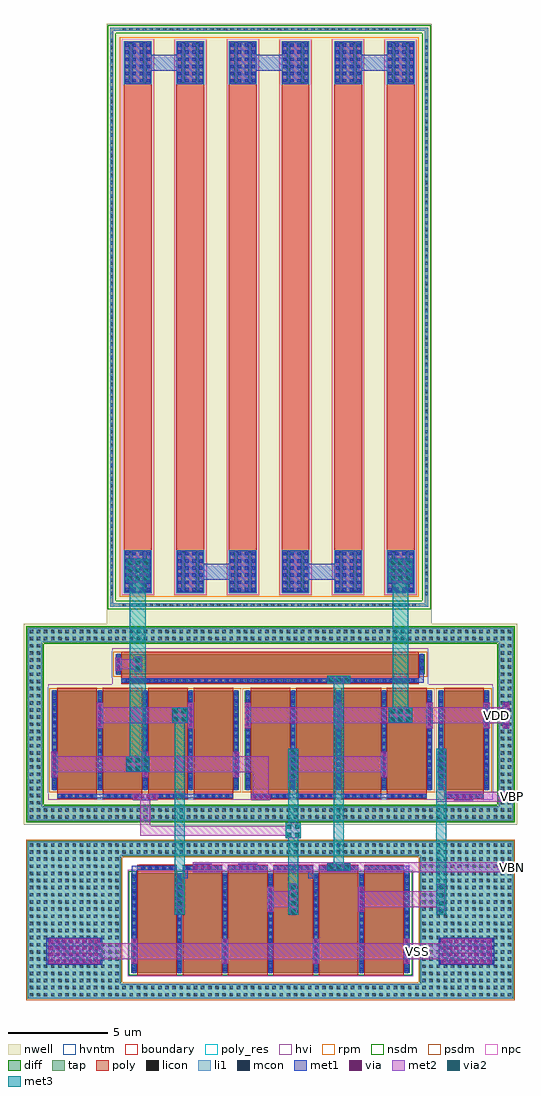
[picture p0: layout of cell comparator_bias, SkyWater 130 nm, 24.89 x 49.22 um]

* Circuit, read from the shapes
.subckt comparator_bias VBN VBP VDD VSS
XM1 VBN VSS VSS VSS sky130_fd_pr__nfet_g5v0d10v5 w=5 l=2
XM2 VSS VBN VBN VSS sky130_fd_pr__nfet_g5v0d10v5 w=5 l=2
XM3 n1 VBN VSS VSS sky130_fd_pr__nfet_g5v0d10v5 w=5 l=2
XM4 VSS VSS n1 VSS sky130_fd_pr__nfet_g5v0d10v5 w=5 l=2
XM5 VBP VBN VSS VSS sky130_fd_pr__nfet_g5v0d10v5 w=5 l=2
XM6 VSS VSS VBP VSS sky130_fd_pr__nfet_g5v0d10v5 w=5 l=2
XM7 VBN n1 n2 VDD sky130_fd_pr__pfet_g5v0d10v5 w=5 l=2 m=4
XM8 VBN VBN n2 VDD sky130_fd_pr__pfet_g5v0d10v5 w=1 l=15
XM9 n1 n2 VDD VDD sky130_fd_pr__pfet_g5v0d10v5 w=5 l=2 m=4
XM10 VDD VBP VBP VDD sky130_fd_pr__pfet_g5v0d10v5 w=5 l=2
XR11 n3 n2 VSS sky130_fd_pr__res_high_po w=1.41 l=23.5
XR12 n3 n4 VSS sky130_fd_pr__res_high_po w=1.41 l=23.5
XR13 n5 n4 VSS sky130_fd_pr__res_high_po w=1.41 l=23.5
XR14 n5 n6 VSS sky130_fd_pr__res_high_po w=1.41 l=23.5
XR15 n7 n6 VSS sky130_fd_pr__res_high_po w=1.41 l=23.5
XR16 n7 VDD VSS sky130_fd_pr__res_high_po w=1.41 l=23.5
.ends

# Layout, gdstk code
import gdstk
lib = gdstk.Library(unit=1e-6, precision=1e-09)
def R(c, l, rs):  # rectangles x0, y0, x1, y1
    for r in rs: c.add(gdstk.rectangle(r[:2], r[2:], *l))
def A(c, l, x, y, w, h, nx, ny, dx, dy):  # array of equal rectangles
    R(c, l, [(x+i*dx, y+j*dy, x+i*dx+w, y+j*dy+h) for i in range(nx) for j in range(ny)])
nwell = (64, 20)
diff = (65, 20)
tap = (65, 44)
poly_res = (66, 13)
poly = (66, 20)
licon = (66, 44)
li1 = (67, 20)
mcon = (67, 44)
met1 = (68, 20)
via = (68, 44)
met2 = (69, 20)
via2 = (69, 44)
met3 = (70, 20)
hvi = (75, 20)
rpm = (86, 20)
nsdm = (93, 44)
psdm = (94, 20)
npc = (95, 20)
hvntm = (125, 20)
boundary = (235, 4)

sky130_fd_pr__nfet_g5v0d = lib.new_cell('sky130_fd_pr__nfet_g5v0d10v5_CD2923')
R(sky130_fd_pr__nfet_g5v0d, diff, [(-1.29,-2.655,1.29,2.345)])
R(sky130_fd_pr__nfet_g5v0d, poly, [(-1,-2.785,1,2.785)])
A(sky130_fd_pr__nfet_g5v0d, licon, -1.23, -2.45, 0.17, 0.17, 1, 14, 0, 0.34)
A(sky130_fd_pr__nfet_g5v0d, licon, 1.06, -2.45, 0.17, 0.17, 1, 14, 0, 0.34)
A(sky130_fd_pr__nfet_g5v0d, licon, -0.765, 2.535, 0.17, 0.17, 5, 1, 0.34, 0)
R(sky130_fd_pr__nfet_g5v0d, li1, [(-1.23,-2.675,-1.06,2.365), (1.06,-2.675,1.23,2.365), (-1,2.535,1,2.705)])
A(sky130_fd_pr__nfet_g5v0d, mcon, -1.23, -2.58, 0.17, 0.17, 1, 14, 0, 0.36)
A(sky130_fd_pr__nfet_g5v0d, mcon, 1.06, -2.58, 0.17, 0.17, 1, 14, 0, 0.36)
A(sky130_fd_pr__nfet_g5v0d, mcon, -0.805, 2.535, 0.17, 0.17, 5, 1, 0.36, 0)
R(sky130_fd_pr__nfet_g5v0d, met1, [(-1.26,-2.655,-1.03,2.345), (1.03,-2.655,1.26,2.345), (-0.98,2.505,0.98,2.735)])
R(sky130_fd_pr__nfet_g5v0d, hvi, [(-1.475,-2.84,1.475,2.53)])
R(sky130_fd_pr__nfet_g5v0d, nsdm, [(-1.415,-2.78,1.415,2.47)])
R(sky130_fd_pr__nfet_g5v0d, npc, [(-0.865,2.435,0.865,2.805)])
R(sky130_fd_pr__nfet_g5v0d, hvntm, [(-1.475,-2.84,1.475,2.53)])

c__unnamed_ = lib.new_cell('(UNNAMED)')
c__unnamed_.add(gdstk.Reference(sky130_fd_pr__nfet_g5v0d, (1.29,2.785)))

sky130_fd_pr__pfet_g5v0d = lib.new_cell('sky130_fd_pr__pfet_g5v0d10v5_HHRSZV')
R(sky130_fd_pr__pfet_g5v0d, nwell, [(-1.47,-2.82,1.47,2.99)])
R(sky130_fd_pr__pfet_g5v0d, diff, [(-1.29,-2.32,1.29,2.68)])
R(sky130_fd_pr__pfet_g5v0d, poly, [(-1,-2.805,1,2.81)])
A(sky130_fd_pr__pfet_g5v0d, licon, -0.765, -2.725, 0.17, 0.17, 5, 1, 0.34, 0)
A(sky130_fd_pr__pfet_g5v0d, licon, -1.23, -2.115, 0.17, 0.17, 1, 14, 0, 0.34)
A(sky130_fd_pr__pfet_g5v0d, licon, 1.06, -2.115, 0.17, 0.17, 1, 14, 0, 0.34)
R(sky130_fd_pr__pfet_g5v0d, li1, [(-1,-2.725,1,-2.555), (-1.23,-2.34,-1.06,2.7), (1.06,-2.34,1.23,2.7)])
A(sky130_fd_pr__pfet_g5v0d, mcon, -0.805, -2.725, 0.17, 0.17, 5, 1, 0.36, 0)
A(sky130_fd_pr__pfet_g5v0d, mcon, -1.23, -2.245, 0.17, 0.17, 1, 14, 0, 0.36)
A(sky130_fd_pr__pfet_g5v0d, mcon, 1.06, -2.245, 0.17, 0.17, 1, 14, 0, 0.36)
R(sky130_fd_pr__pfet_g5v0d, met1, [(-0.98,-2.755,0.98,-2.525), (-1.26,-2.32,-1.03,2.68), (1.03,-2.32,1.26,2.68)])
R(sky130_fd_pr__pfet_g5v0d, hvi, [(-1.47,-2.82,1.47,-2.505), (-1.475,-2.505,1.475,2.865), (-1.47,2.865,1.47,2.99)])
R(sky130_fd_pr__pfet_g5v0d, psdm, [(-1.415,-2.445,1.415,2.805)])
R(sky130_fd_pr__pfet_g5v0d, npc, [(-0.865,-2.825,0.865,-2.455)])

c__unnamed__1 = lib.new_cell('(UNNAMED)$1')
c__unnamed__1.add(gdstk.Reference(sky130_fd_pr__pfet_g5v0d, (3.76,3)))

c_sky130_fd_pr__pfet_g5v0d = lib.new_cell('sky130_fd_pr__pfet_g5v0d10v5_HHVYFP')
R(c_sky130_fd_pr__pfet_g5v0d, nwell, [(-2.615,-2.82,2.615,2.99)])
R(c_sky130_fd_pr__pfet_g5v0d, diff, [(-2.435,-2.32,2.435,2.68)])
R(c_sky130_fd_pr__pfet_g5v0d, poly, [(-2.145,-2.805,-0.145,2.81), (0.145,-2.805,2.145,2.81)])
A(c_sky130_fd_pr__pfet_g5v0d, licon, -1.91, -2.725, 0.17, 0.17, 5, 1, 0.34, 0)
A(c_sky130_fd_pr__pfet_g5v0d, licon, 0.38, -2.725, 0.17, 0.17, 5, 1, 0.34, 0)
A(c_sky130_fd_pr__pfet_g5v0d, licon, -2.375, -2.115, 0.17, 0.17, 3, 14, 2.29, 0.34)
A(c_sky130_fd_pr__pfet_g5v0d, li1, -2.375, -2.34, 0.17, 5.04, 3, 1, 2.29, 0)
R(c_sky130_fd_pr__pfet_g5v0d, li1, [(-2.145,-2.725,-0.145,-2.555), (0.145,-2.725,2.145,-2.555)])
A(c_sky130_fd_pr__pfet_g5v0d, mcon, -1.95, -2.725, 0.17, 0.17, 5, 1, 0.36, 0)
A(c_sky130_fd_pr__pfet_g5v0d, mcon, 0.34, -2.725, 0.17, 0.17, 5, 1, 0.36, 0)
A(c_sky130_fd_pr__pfet_g5v0d, mcon, -2.375, -2.245, 0.17, 0.17, 3, 14, 2.29, 0.36)
A(c_sky130_fd_pr__pfet_g5v0d, met1, -2.405, -2.32, 0.23, 5, 3, 1, 2.29, 0)
R(c_sky130_fd_pr__pfet_g5v0d, met1, [(-2.125,-2.755,-0.165,-2.525), (0.165,-2.755,2.125,-2.525)])
R(c_sky130_fd_pr__pfet_g5v0d, hvi, [(-2.615,-2.82,2.615,-2.505), (-2.62,-2.505,2.62,2.865), (-2.615,2.865,2.615,2.99)])
R(c_sky130_fd_pr__pfet_g5v0d, psdm, [(-2.56,-2.445,2.56,2.805)])
R(c_sky130_fd_pr__pfet_g5v0d, npc, [(-2.01,-2.825,-0.28,-2.455), (0.28,-2.825,2.01,-2.455)])

c__unnamed__5 = lib.new_cell('(UNNAMED)$5')
c__unnamed__5.add(gdstk.Reference(c_sky130_fd_pr__pfet_g5v0d, (2.615,2.82)))

c_sky130_fd_pr__pfet_g5v0d_ = lib.new_cell('sky130_fd_pr__pfet_g5v0d10v5_QUXTAC')
R(c_sky130_fd_pr__pfet_g5v0d_, nwell, [(-7.97,-0.82,7.97,0.99)])
R(c_sky130_fd_pr__pfet_g5v0d_, diff, [(-7.79,-0.32,7.79,0.68)])
R(c_sky130_fd_pr__pfet_g5v0d_, poly, [(-7.5,-0.805,7.5,0.81)])
A(c_sky130_fd_pr__pfet_g5v0d_, licon, -7.395, -0.725, 0.17, 0.17, 44, 1, 0.34, 0)
A(c_sky130_fd_pr__pfet_g5v0d_, licon, -7.73, -0.245, 0.17, 0.17, 1, 3, 0, 0.34)
A(c_sky130_fd_pr__pfet_g5v0d_, licon, 7.56, -0.245, 0.17, 0.17, 1, 3, 0, 0.34)
R(c_sky130_fd_pr__pfet_g5v0d_, li1, [(-7.5,-0.725,7.5,-0.555), (-7.73,-0.34,-7.56,0.7), (7.56,-0.34,7.73,0.7)])
A(c_sky130_fd_pr__pfet_g5v0d_, mcon, -7.285, -0.725, 0.17, 0.17, 41, 1, 0.36, 0)
R(c_sky130_fd_pr__pfet_g5v0d_, mcon, [(-7.73,-0.085,-7.56,0.085), (7.56,-0.085,7.73,0.085), (-7.73,0.275,-7.56,0.445), (7.56,0.275,7.73,0.445)])
R(c_sky130_fd_pr__pfet_g5v0d_, met1, [(-7.48,-0.755,7.48,-0.525), (-7.76,-0.32,-7.53,0.68), (7.53,-0.32,7.76,0.68)])
R(c_sky130_fd_pr__pfet_g5v0d_, hvi, [(-7.97,-0.82,7.97,-0.505), (-7.975,-0.505,7.975,0.865), (-7.97,0.865,7.97,0.99)])
R(c_sky130_fd_pr__pfet_g5v0d_, psdm, [(-7.915,-0.445,7.915,0.805)])
R(c_sky130_fd_pr__pfet_g5v0d_, npc, [(-7.495,-0.825,7.495,-0.455)])

c__unnamed__3 = lib.new_cell('(UNNAMED)$3')
c__unnamed__3.add(gdstk.Reference(c_sky130_fd_pr__pfet_g5v0d_, (10.26,1)))

c_sky130_fd_pr__pfet_g5v0d__ = lib.new_cell('sky130_fd_pr__pfet_g5v0d10v5_HHVYFP$1')
R(c_sky130_fd_pr__pfet_g5v0d__, nwell, [(-2.615,-2.82,2.615,2.99)])
R(c_sky130_fd_pr__pfet_g5v0d__, diff, [(-2.435,-2.32,2.435,2.68)])
R(c_sky130_fd_pr__pfet_g5v0d__, poly, [(-2.145,-2.805,-0.145,2.81), (0.145,-2.805,2.145,2.81)])
A(c_sky130_fd_pr__pfet_g5v0d__, licon, -1.91, -2.725, 0.17, 0.17, 5, 1, 0.34, 0)
A(c_sky130_fd_pr__pfet_g5v0d__, licon, 0.38, -2.725, 0.17, 0.17, 5, 1, 0.34, 0)
A(c_sky130_fd_pr__pfet_g5v0d__, licon, -2.375, -2.115, 0.17, 0.17, 3, 14, 2.29, 0.34)
A(c_sky130_fd_pr__pfet_g5v0d__, li1, -2.375, -2.34, 0.17, 5.04, 3, 1, 2.29, 0)
R(c_sky130_fd_pr__pfet_g5v0d__, li1, [(-2.145,-2.725,-0.145,-2.555), (0.145,-2.725,2.145,-2.555)])
A(c_sky130_fd_pr__pfet_g5v0d__, mcon, -1.95, -2.725, 0.17, 0.17, 5, 1, 0.36, 0)
A(c_sky130_fd_pr__pfet_g5v0d__, mcon, 0.34, -2.725, 0.17, 0.17, 5, 1, 0.36, 0)
A(c_sky130_fd_pr__pfet_g5v0d__, mcon, -2.375, -2.245, 0.17, 0.17, 3, 14, 2.29, 0.36)
A(c_sky130_fd_pr__pfet_g5v0d__, met1, -2.405, -2.32, 0.23, 5, 3, 1, 2.29, 0)
R(c_sky130_fd_pr__pfet_g5v0d__, met1, [(-2.125,-2.755,-0.165,-2.525), (0.165,-2.755,2.125,-2.525)])
R(c_sky130_fd_pr__pfet_g5v0d__, hvi, [(-2.615,-2.82,2.615,-2.505), (-2.62,-2.505,2.62,2.865), (-2.615,2.865,2.615,2.99)])
R(c_sky130_fd_pr__pfet_g5v0d__, psdm, [(-2.56,-2.445,2.56,2.805)])
R(c_sky130_fd_pr__pfet_g5v0d__, npc, [(-2.01,-2.825,-0.28,-2.455), (0.28,-2.825,2.01,-2.455)])

c__unnamed__5_1 = lib.new_cell('(UNNAMED)$5$1')
c__unnamed__5_1.add(gdstk.Reference(c_sky130_fd_pr__pfet_g5v0d__, (2.615,2.82)))

contact_1 = lib.new_cell('contact$1')
R(contact_1, tap, [(-12.265,-0.385,12.265,0.385)])
A(contact_1, licon, -12.145, -0.265, 0.17, 0.17, 68, 2, 0.36, 0.36)
R(contact_1, li1, [(-12.225,-0.345,12.225,0.345)])

contact = lib.new_cell('contact')
R(contact, tap, [(-0.385,-4.885,0.385,4.885)])
A(contact, licon, -0.265, -4.765, 0.17, 0.17, 1, 27, 0, 0.36)
A(contact, licon, 0.095, -4.765, 0.17, 0.17, 1, 27, 0, 0.36)
R(contact, li1, [(-0.345,-4.845,0.345,4.845)])

contact_2 = lib.new_cell('contact$2')
R(contact_2, tap, [(-2.365,-3.985,2.365,3.985)])
A(contact_2, licon, -2.245, -3.865, 0.17, 0.17, 13, 22, 0.36, 0.36)
R(contact_2, li1, [(-2.325,-3.945,2.325,3.945)])

sky130_fd_pr__res_high_p = lib.new_cell('sky130_fd_pr__res_high_po_1p41_83FDAH')
R(sky130_fd_pr__res_high_p, nwell, [(-8.205,-14.785,8.205,14.785)])
R(sky130_fd_pr__res_high_p, tap, [(-8.025,-14.605,8.025,-14.435), (-8.025,-14.435,-7.855,14.435), (7.855,-14.435,8.025,14.435), (-8.025,14.435,8.025,14.605)])
A(sky130_fd_pr__res_high_p, poly_res, -7.33, -11.81, 1.41, 23.62, 6, 1, 2.65, 0)
A(sky130_fd_pr__res_high_p, poly, -7.33, -13.91, 1.41, 27.82, 6, 1, 2.65, 0)
A(sky130_fd_pr__res_high_p, licon, -7.395, -14.605, 0.17, 0.17, 44, 2, 0.34, 29.04)
A(sky130_fd_pr__res_high_p, licon, -8.025, -14.025, 0.17, 0.17, 1, 83, 0, 0.34)
A(sky130_fd_pr__res_high_p, licon, 7.855, -14.025, 0.17, 0.17, 1, 83, 0, 0.34)
R(sky130_fd_pr__res_high_p, licon, [(-7.075,-13.83,-6.885,-11.83), (-6.365,-13.83,-6.175,-11.83), (-4.425,-13.83,-4.235,-11.83), (-3.715,-13.83,-3.525,-11.83), (-1.775,-13.83,-1.585,-11.83), (-1.065,-13.83,-0.875,-11.83), (0.875,-13.83,1.065,-11.83), (1.585,-13.83,1.775,-11.83), (3.525,-13.83,3.715,-11.83), (4.235,-13.83,4.425,-11.83), (6.175,-13.83,6.365,-11.83), (6.885,-13.83,7.075,-11.83), (-7.075,11.83,-6.885,13.83), (-6.365,11.83,-6.175,13.83), (-4.425,11.83,-4.235,13.83), (-3.715,11.83,-3.525,13.83), (-1.775,11.83,-1.585,13.83), (-1.065,11.83,-0.875,13.83), (0.875,11.83,1.065,13.83), (1.585,11.83,1.775,13.83), (3.525,11.83,3.715,13.83), (4.235,11.83,4.425,13.83), (6.175,11.83,6.365,13.83), (6.885,11.83,7.075,13.83)])
A(sky130_fd_pr__res_high_p, li1, -7.33, -13.91, 1.41, 2.16, 6, 2, 2.65, 25.66)
R(sky130_fd_pr__res_high_p, li1, [(-8.025,-14.605,8.025,-14.435), (-8.025,-14.435,-7.855,14.435), (7.855,-14.435,8.025,14.435), (-8.025,14.435,8.025,14.605)])
A(sky130_fd_pr__res_high_p, mcon, -7.25, -13.815, 0.17, 0.17, 4, 6, 0.36, 0.36)
A(sky130_fd_pr__res_high_p, mcon, -4.6, -13.815, 0.17, 0.17, 4, 6, 0.36, 0.36)
A(sky130_fd_pr__res_high_p, mcon, -1.95, -13.815, 0.17, 0.17, 4, 6, 0.36, 0.36)
A(sky130_fd_pr__res_high_p, mcon, 0.7, -13.815, 0.17, 0.17, 4, 6, 0.36, 0.36)
A(sky130_fd_pr__res_high_p, mcon, 3.35, -13.815, 0.17, 0.17, 4, 6, 0.36, 0.36)
A(sky130_fd_pr__res_high_p, mcon, 6, -13.815, 0.17, 0.17, 4, 6, 0.36, 0.36)
A(sky130_fd_pr__res_high_p, mcon, -7.25, 11.84, 0.17, 0.17, 4, 6, 0.36, 0.36)
A(sky130_fd_pr__res_high_p, mcon, -4.6, 11.84, 0.17, 0.17, 4, 6, 0.36, 0.36)
A(sky130_fd_pr__res_high_p, mcon, -1.95, 11.84, 0.17, 0.17, 4, 6, 0.36, 0.36)
A(sky130_fd_pr__res_high_p, mcon, 0.7, 11.84, 0.17, 0.17, 4, 6, 0.36, 0.36)
A(sky130_fd_pr__res_high_p, mcon, 3.35, 11.84, 0.17, 0.17, 4, 6, 0.36, 0.36)
A(sky130_fd_pr__res_high_p, mcon, 6, 11.84, 0.17, 0.17, 4, 6, 0.36, 0.36)
A(sky130_fd_pr__res_high_p, met1, -7.28, -13.88, 1.31, 2.105, 6, 2, 2.65, 25.655)
R(sky130_fd_pr__res_high_p, rpm, [(-7.53,-14.11,7.53,14.11)])
R(sky130_fd_pr__res_high_p, nsdm, [(-8.15,-14.73,8.15,-14.31), (-8.15,-14.31,-7.73,14.31), (7.73,-14.31,8.15,14.31), (-8.15,14.31,8.15,14.73)])
A(sky130_fd_pr__res_high_p, psdm, -7.44, -14.02, 1.63, 28.04, 6, 1, 2.65, 0)
A(sky130_fd_pr__res_high_p, npc, -7.425, -14.005, 1.6, 28.01, 6, 1, 2.65, 0)
R(sky130_fd_pr__res_high_p, boundary, [(-7.94,-14.52,7.94,14.52)])

c__unnamed__6 = lib.new_cell('(UNNAMED)$6')
c__unnamed__6.add(gdstk.Reference(sky130_fd_pr__res_high_p, (7.94,14.52)))

contact_3 = lib.new_cell('contact$3')
R(contact_3, met1, [(-0.48,-0.16,0.48,0.16)])
A(contact_3, via, -0.395, -0.075, 0.15, 0.15, 3, 1, 0.32, 0)
R(contact_3, met2, [(-0.48,-0.16,0.48,0.16)])

contact_5 = lib.new_cell('contact$5')
R(contact_5, met1, [(-0.16,-0.64,0.16,0.64)])
A(contact_5, via, -0.075, -0.555, 0.15, 0.15, 1, 4, 0, 0.32)
R(contact_5, met2, [(-0.16,-0.64,0.16,0.64)])

contact_4 = lib.new_cell('contact$4')
R(contact_4, met1, [(-1.28,-0.64,1.28,0.64)])
A(contact_4, via, -1.195, -0.555, 0.15, 0.15, 8, 4, 0.32, 0.32)
R(contact_4, met2, [(-1.28,-0.64,1.28,0.64)])

contact_6 = lib.new_cell('contact$6')
R(contact_6, li1, [(-0.165,-0.705,0.165,0.705)])
A(contact_6, mcon, -0.085, -0.625, 0.17, 0.17, 1, 4, 0, 0.36)
R(contact_6, met1, [(-0.145,-0.685,0.145,0.685)])

contact_7 = lib.new_cell('contact$7')
R(contact_7, li1, [(-1.425,-0.705,1.425,0.705)])
A(contact_7, mcon, -1.345, -0.625, 0.17, 0.17, 8, 4, 0.36, 0.36)
R(contact_7, met1, [(-1.405,-0.685,1.405,0.685)])

contact_8 = lib.new_cell('contact$8')
R(contact_8, met2, [(-0.185,-0.785,0.185,0.785)])
A(contact_8, via2, -0.1, -0.7, 0.2, 0.2, 1, 4, 0, 0.4)
R(contact_8, met3, [(-0.185,-0.785,0.185,0.785)])

contact_10 = lib.new_cell('contact$10')
R(contact_10, met1, [(-0.64,-0.16,0.64,0.16)])
A(contact_10, via, -0.555, -0.075, 0.15, 0.15, 4, 1, 0.32, 0)
R(contact_10, met2, [(-0.64,-0.16,0.64,0.16)])

contact_13 = lib.new_cell('contact$13')
R(contact_13, met2, [(-0.385,-0.385,0.385,0.385)])
R(contact_13, via2, [(-0.3,-0.3,-0.1,-0.1), (0.1,-0.3,0.3,-0.1), (-0.3,0.1,-0.1,0.3), (0.1,0.1,0.3,0.3)])
R(contact_13, met3, [(-0.385,-0.385,0.385,0.385)])

contact_11 = lib.new_cell('contact$11')
R(contact_11, met1, [(-0.48,-0.48,0.48,0.48)])
A(contact_11, via, -0.395, -0.395, 0.15, 0.15, 3, 3, 0.32, 0.32)
R(contact_11, met2, [(-0.48,-0.48,0.48,0.48)])

contact_12 = lib.new_cell('contact$12')
R(contact_12, met2, [(-0.585,-0.585,0.585,0.585)])
A(contact_12, via2, -0.5, -0.5, 0.2, 0.2, 3, 3, 0.4, 0.4)
R(contact_12, met3, [(-0.585,-0.585,0.585,0.585)])

contact_15 = lib.new_cell('contact$15')
R(contact_15, met2, [(-0.585,-0.385,0.585,0.385)])
A(contact_15, via2, -0.5, -0.3, 0.2, 0.2, 3, 2, 0.4, 0.4)
R(contact_15, met3, [(-0.585,-0.385,0.585,0.385)])

contact_14 = lib.new_cell('contact$14')
R(contact_14, met2, [(-0.585,-0.185,0.585,0.185)])
A(contact_14, via2, -0.5, -0.1, 0.2, 0.2, 3, 1, 0.4, 0)
R(contact_14, met3, [(-0.585,-0.185,0.585,0.185)])

contact_17 = lib.new_cell('contact$17')
R(contact_17, met1, [(-0.16,-0.32,0.16,0.32)])
R(contact_17, via, [(-0.075,-0.235,0.075,-0.085), (-0.075,0.085,0.075,0.235)])
R(contact_17, met2, [(-0.16,-0.32,0.16,0.32)])

contact_16 = lib.new_cell('contact$16')
R(contact_16, met2, [(-0.185,-0.385,0.185,0.385)])
R(contact_16, via2, [(-0.1,-0.3,0.1,-0.1), (-0.1,0.1,0.1,0.3)])
R(contact_16, met3, [(-0.185,-0.385,0.185,0.385)])

comparator_bias = lib.new_cell('comparator_bias')
R(comparator_bias, nwell, [(11.565,5.885,36.455,16.015), (15.74,16.015,32.15,16.695)])
R(comparator_bias, nsdm, [(11.685,6.005,36.335,6.895), (11.685,6.895,12.575,15.005), (35.445,6.895,36.335,15.005), (11.685,15.005,36.335,15.895)])
R(comparator_bias, psdm, [(11.685,-2.955,36.335,-2.065), (11.685,-2.065,16.535,4.245), (31.485,-2.065,36.335,4.245), (11.685,4.245,36.335,5.135)])
comparator_bias.add(gdstk.FlexPath([(17.14,3.425),(17.14,3.7),(17.305,3.7)], 0.23, ends="flush", simple_path=True, layer=68, datatype=20))  # met1
comparator_bias.add(gdstk.FlexPath([(30.88,3.425),(30.88,3.7),(30.715,3.7)], 0.23, ends="flush", simple_path=True, layer=68, datatype=20))  # met1
comparator_bias.add(gdstk.FlexPath([(26.185,3.31),(26.02,3.31),(26.02,3.585)], 0.23, ends="flush", simple_path=True, layer=68, datatype=20))  # met1
comparator_bias.add(gdstk.FlexPath([(22.68,3.7),(23.02,3.7)], 0.23, ends="flush", simple_path=True, layer=68, datatype=20))  # met1
comparator_bias.add(gdstk.FlexPath([(24.97,3.7),(25.305,3.7)], 0.23, ends="flush", simple_path=True, layer=68, datatype=20))  # met1
comparator_bias.add(gdstk.FlexPath([(19.545,3.31),(19.71,3.31),(19.71,3.585)], 0.23, ends="flush", simple_path=True, layer=68, datatype=20))  # met1
comparator_bias.add(gdstk.FlexPath([(15.24,7.33),(20.15,7.33)], 0.23, ends="flush", simple_path=True, layer=68, datatype=20))  # met1
comparator_bias.add(gdstk.FlexPath([(24.99,7.33),(29.9,7.33)], 0.23, ends="flush", simple_path=True, layer=68, datatype=20))  # met1
comparator_bias.add(gdstk.FlexPath([(17.975,44.305),(19.315,44.305)], 0.8, ends="flush", simple_path=True, layer=68, datatype=20))  # met1
comparator_bias.add(gdstk.FlexPath([(23.275,44.305),(24.615,44.305)], 0.8, ends="flush", simple_path=True, layer=68, datatype=20))  # met1
comparator_bias.add(gdstk.FlexPath([(28.575,44.305),(29.915,44.305)], 0.8, ends="flush", simple_path=True, layer=68, datatype=20))  # met1
comparator_bias.add(gdstk.FlexPath([(20.625,18.65),(21.965,18.65)], 0.8, ends="flush", simple_path=True, layer=68, datatype=20))  # met1
comparator_bias.add(gdstk.FlexPath([(25.925,18.65),(27.265,18.65)], 0.8, ends="flush", simple_path=True, layer=68, datatype=20))  # met1
comparator_bias.add(gdstk.FlexPath([(31.635,13.475),(31.635,13.155),(31.47,13.155)], 0.23, ends="flush", simple_path=True, layer=68, datatype=20))  # met1
comparator_bias.add(gdstk.FlexPath([(20.095,3.745),(36.335,3.745)], 0.5, ends="flush", simple_path=True, layer=69, datatype=20))  # met2
comparator_bias.add(gdstk.FlexPath([(15.39,-0.495),(32.61,-0.495)], 0.8, ends="flush", simple_path=True, layer=69, datatype=20))  # met2
comparator_bias.add(gdstk.FlexPath([(33.28,7.285),(36.335,7.285)], 0.5, ends="flush", simple_path=True, layer=69, datatype=20))  # met2
comparator_bias.add(gdstk.FlexPath([(22.865,11.4),(35.89,11.4),(35.89,11.4),(35.895,11.4)], 0.8, ends="flush", simple_path=True, layer=69, datatype=20))  # met2
comparator_bias.add(gdstk.FlexPath([(15.405,11.4),(19.985,11.4)], 0.8, ends="flush", simple_path=True, layer=69, datatype=20))  # met2
comparator_bias.add(gdstk.FlexPath([(13.115,8.93),(22.28,8.93)], 0.8, ends="flush", simple_path=True, layer=69, datatype=20))  # met2
comparator_bias.add(gdstk.FlexPath([(25.155,8.93),(29.735,8.93)], 0.8, ends="flush", simple_path=True, layer=69, datatype=20))  # met2
comparator_bias.add(gdstk.FlexPath([(24.01,2.125),(25.16,2.125)], 0.8, ends="flush", simple_path=True, layer=69, datatype=20))  # met2
comparator_bias.add(gdstk.FlexPath([(17.695,7.285),(17.695,5.59),(25.16,5.59)], 0.5, ends="flush", simple_path=True, layer=69, datatype=20))  # met2
comparator_bias.add(gdstk.FlexPath([(22.28,8.93),(23.51,8.93),(23.51,7.29)], 0.8, ends="flush", simple_path=True, layer=69, datatype=20))  # met2
comparator_bias.add(gdstk.FlexPath([(28.59,2.125),(32.62,2.125)], 0.8, ends="flush", simple_path=True, layer=69, datatype=20))  # met2
comparator_bias.add(gdstk.FlexPath([(33.285,7.285),(32.62,7.285),(32.62,9.715)], 0.5, ends="flush", simple_path=True, layer=69, datatype=20))  # met2
comparator_bias.add(gdstk.FlexPath([(17.32,13.975),(16.345,13.975)], 0.5, ends="flush", simple_path=True, layer=69, datatype=20))  # met2
comparator_bias.add(gdstk.FlexPath([(25.155,1.34),(25.155,9.715)], 0.5, ends="flush", simple_path=True, layer=70, datatype=20))  # met3
comparator_bias.add(gdstk.FlexPath([(19.43,1.34),(19.43,11.4)], 0.5, ends="flush", simple_path=True, layer=70, datatype=20))  # met3
comparator_bias.add(gdstk.FlexPath([(32.62,1.34),(32.62,9.715)], 0.5, ends="flush", simple_path=True, layer=70, datatype=20))  # met3
comparator_bias.add(gdstk.FlexPath([(17.32,18.705),(17.32,8.93)], 0.8, ends="flush", simple_path=True, layer=70, datatype=20))  # met3
comparator_bias.add(gdstk.FlexPath([(30.565,11.4),(30.565,18.725)], 0.8, ends="flush", simple_path=True, layer=70, datatype=20))  # met3
comparator_bias.add(gdstk.FlexPath([(27.445,13.2),(27.445,3.745)], 0.5, ends="flush", simple_path=True, layer=70, datatype=20))  # met3
r = gdstk.Reference(c__unnamed_, (16.995,-1.705)); r.repetition = gdstk.Repetition(6, 1, v1=(2.29,0), v2=(0,0)); comparator_bias.add(r)
comparator_bias.add(gdstk.Reference(c__unnamed__1, (30,6.97)))
r = gdstk.Reference(c__unnamed__5, (12.79,7.15)); r.repetition = gdstk.Repetition(2, 1, v1=(4.58,0), v2=(0,0)); comparator_bias.add(r)
comparator_bias.add(gdstk.Reference(c__unnamed__3, (13.73,12.795)))
r = gdstk.Reference(c__unnamed__5_1, (22.54,7.15)); r.repetition = gdstk.Repetition(2, 1, v1=(4.58,0), v2=(0,0)); comparator_bias.add(r)
comparator_bias.add(gdstk.Reference(contact_1, (24.01,15.45)))
comparator_bias.add(gdstk.Reference(contact, (12.13,10.95)))
comparator_bias.add(gdstk.Reference(contact, (35.89,10.95)))
comparator_bias.add(gdstk.Reference(contact_1, (24.01,6.45)))
comparator_bias.add(gdstk.Reference(contact_1, (24.01,4.69)))
comparator_bias.add(gdstk.Reference(contact_1, (24.01,-2.51)))
comparator_bias.add(gdstk.Reference(contact_2, (33.91,1.09)))
comparator_bias.add(gdstk.Reference(contact_2, (14.11,1.09)))
comparator_bias.add(gdstk.Reference(c__unnamed__6, (16.005,16.96)))
comparator_bias.add(gdstk.Reference(contact_3, (20.575,3.745)))
comparator_bias.add(gdstk.Reference(contact_3, (22.865,3.745)))
comparator_bias.add(gdstk.Reference(contact_3, (27.445,3.745)))
comparator_bias.add(gdstk.Reference(contact_5, (17.14,-0.495)))
comparator_bias.add(gdstk.Reference(contact_5, (21.72,-0.495)))
comparator_bias.add(gdstk.Reference(contact_5, (26.3,-0.495)))
comparator_bias.add(gdstk.Reference(contact_5, (30.88,-0.495)))
comparator_bias.add(gdstk.Reference(contact_4, (14.11,-0.495)))
comparator_bias.add(gdstk.Reference(contact_4, (33.89,-0.495)))
comparator_bias.add(gdstk.Reference(contact_3, (33.76,7.285)))
comparator_bias.add(gdstk.Reference(contact_5, (22.865,11.4)))
comparator_bias.add(gdstk.Reference(contact_5, (27.445,11.4)))
comparator_bias.add(gdstk.Reference(contact_5, (32.025,11.4)))
comparator_bias.add(gdstk.Reference(contact_5, (34.905,11.4)))
comparator_bias.add(gdstk.Reference(contact_5, (35.89,11.4)))
comparator_bias.add(gdstk.Reference(contact_6, (35.89,11.4)))
comparator_bias.add(gdstk.Reference(contact_5, (32.615,8.93)))
comparator_bias.add(gdstk.Reference(contact_5, (29.735,8.93)))
comparator_bias.add(gdstk.Reference(contact_5, (25.155,8.93)))
comparator_bias.add(gdstk.Reference(contact_5, (22.275,8.93)))
comparator_bias.add(gdstk.Reference(contact_5, (17.695,8.93)))
comparator_bias.add(gdstk.Reference(contact_5, (13.115,8.93)))
comparator_bias.add(gdstk.Reference(contact_5, (15.405,11.4)))
comparator_bias.add(gdstk.Reference(contact_5, (19.985,11.4)))
comparator_bias.add(gdstk.Reference(contact_7, (33.89,-0.495)))
comparator_bias.add(gdstk.Reference(contact_7, (14.11,-0.495)))
comparator_bias.add(gdstk.Reference(contact_5, (24.01,2.125)))
comparator_bias.add(gdstk.Reference(contact_8, (25.155,8.93)))
comparator_bias.add(gdstk.Reference(contact_8, (25.155,2.125)))
comparator_bias.add(gdstk.Reference(contact_10, (17.695,7.285)))
comparator_bias.add(gdstk.Reference(contact_13, (25.155,5.59)))
comparator_bias.add(gdstk.Reference(contact_5, (19.43,2.125)))
comparator_bias.add(gdstk.Reference(contact_8, (19.43,2.125)))
comparator_bias.add(gdstk.Reference(contact_13, (19.43,11.4)))
comparator_bias.add(gdstk.Reference(contact_3, (23.51,7.285)))
comparator_bias.add(gdstk.Reference(contact_5, (28.59,2.125)))
comparator_bias.add(gdstk.Reference(contact_11, (17.32,18.705)))
comparator_bias.add(gdstk.Reference(contact_8, (32.615,8.93)))
comparator_bias.add(gdstk.Reference(contact_8, (32.615,2.125)))
comparator_bias.add(gdstk.Reference(contact_12, (17.32,18.705)))
comparator_bias.add(gdstk.Reference(contact_15, (17.32,8.93)))
comparator_bias.add(gdstk.Reference(contact_11, (30.565,18.705)))
comparator_bias.add(gdstk.Reference(contact_12, (30.565,18.705)))
comparator_bias.add(gdstk.Reference(contact_15, (30.565,11.4)))
comparator_bias.add(gdstk.Reference(contact_14, (27.445,3.745)))
comparator_bias.add(gdstk.Reference(contact_3, (27.445,13.2)))
comparator_bias.add(gdstk.Reference(contact_14, (27.445,13.2)))
comparator_bias.add(gdstk.Reference(contact_17, (16.35,13.975)))
comparator_bias.add(gdstk.Reference(contact_16, (17.32,13.975)))
comparator_bias.add(gdstk.Label('VDD', (35.425,11.395), layer=69, texttype=16))
comparator_bias.add(gdstk.Label('VSS', (31.41,-0.495), layer=69, texttype=16))
comparator_bias.add(gdstk.Label('VBN', (36.215,3.74), layer=69, texttype=16))
comparator_bias.add(gdstk.Label('VBP', (36.225,7.285), layer=69, texttype=16))

lib.write_gds('comparator_bias.gds')
